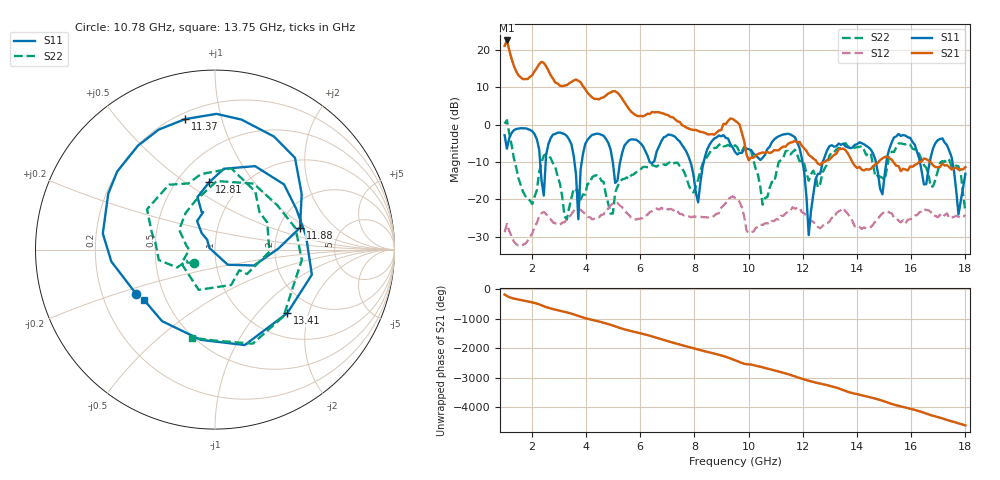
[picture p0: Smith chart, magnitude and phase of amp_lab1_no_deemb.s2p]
!Agilent Technologies,E8362C,MY49020251,A.08.50.10
!Agilent E8362C: A.08.50.10
!Date: Wednesday, April 06, 2016 08:37:59
!Correction: S11(Full 2 Port(1,2))
!S21(Full 2 Port(1,2))
!S12(Full 2 Port(1,2))
!S22(Full 2 Port(1,2))
!S2P File: Measurements: S11, S21, S12, S22:
# Hz S  dB  R 50
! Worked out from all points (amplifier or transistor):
!   201 points, 1 GHz to 18 GHz, reference 50 ohm
!   highest |S21| = 22.5 dB at 1.085 GHz (marker M1)
!   |S21| within 3 dB of that: start of sweep to 1.187 GHz
!   unconditionally stable (mu >= 1): 1.401 GHz to end of sweep
!   at 3.805 GHz: K = 1.89, MAG = 11.6 dB, |S12| = -22.8 dB
!   at 9.5 GHz: K = 2.49, MAG = 3.6 dB, |S12| = -19.6 dB
!   at 18 GHz: K = 28.51, MAG = -11.2 dB, |S12| = -24.2 dB
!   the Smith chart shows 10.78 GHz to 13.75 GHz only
!   S11 on the Smith chart (normalised r, x): 10.78 GHz: 0.35, -0.23; 11.37 GHz: 0.23, +0.77; 11.88 GHz: 2.61, +0.84; 12.81 GHz: 0.71, +0.62; 13.41 GHz: 1.48, -1.47; 13.75 GHz: 0.38, -0.28
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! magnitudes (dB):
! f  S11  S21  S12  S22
! 1 GHz  -2.8  21.1  -28.8  0.2
! 1.085 GHz  -6.4  22.5  -26.6  1.2
! 2.02 GHz  -1.8  13.2  -29.2  -21.3
! 2.445 GHz  -19.0  16.5  -23.4  -8.3
! 3.295 GHz  -3.1  10.6  -25.3  -25.4
! 3.72 GHz  -25.3  11.7  -22.5  -17.6
! 3.89 GHz  -7.9  10.3  -23.4  -18.7
! 6.695 GHz  -5.9  3.3  -22.8  -10.8
! 8.14 GHz  -20.8  -1.7  -24.8  -14.7
! 9.5 GHz  -7.3  1.0  -19.6  -5.5
! 10.78 GHz  -6.0  -7.6  -26.6  -17.0
! 11.37 GHz  -2.5  -5.9  -23.8  -7.1
! 11.88 GHz  -6.2  -4.6  -22.2  -9.8
! 12.22 GHz  -29.6  -8.1  -25.4  -15.0
! 12.39 GHz  -18.7  -9.1  -26.1  -12.3
! 12.81 GHz  -8.5  -10.0  -26.5  -11.6
! 13.41 GHz  -5.4  -6.5  -22.9  -6.3
! 13.75 GHz  -6.3  -8.8  -24.9  -5.9
! 14.94 GHz  -18.7  -9.0  -23.8  -14.3
! 15.2 GHz  -6.5  -9.0  -23.5  -8.2
! 17.75 GHz  -24.0  -12.1  -24.6  -11.2
! 18 GHz  -13.1  -11.4  -24.2  -23.3
